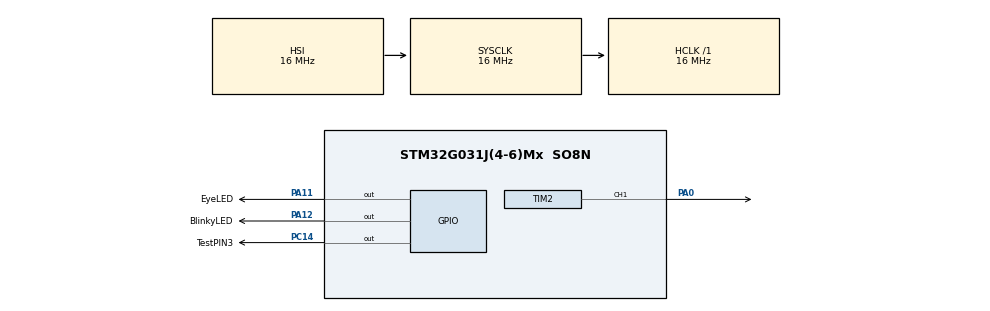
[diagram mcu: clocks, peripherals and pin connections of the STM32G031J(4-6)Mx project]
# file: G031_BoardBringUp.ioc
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Mcu.Family=STM32G0
Mcu.Name=STM32G031J(4-6)Mx
Mcu.Package=SO8N
PA0.Signal=S_TIM2_CH1_ETR
PA11\ [PA9].GPIO_Label=EyeLED
PA11\ [PA9].Signal=GPIO_Output
PA12\ [PA10].GPIO_Label=BlinkyLED
PA12\ [PA10].Signal=GPIO_Output
PA14-BOOT0__PA15__PB5__PB6.StandardMode=true
PB0__PB1__PA8__PA11\ [PA9].StandardMode=true
PC14-OSC32_IN\ (PC14).GPIO_Label=TestPIN3
PC14-OSC32_IN\ (PC14).Signal=GPIO_Output
PC14-OSC32_IN\ (PC14)__PB7__PB8__PB9.StandardMode=true
PF2\ -\ NRST__PA0__PA1__PA2.StandardMode=true
ProjectManager.HeapSize=0x200
ProjectManager.StackSize=0x400
ProjectManager.TargetToolchain=STM32CubeIDE
RCC.AHBFreq_Value=16000000
RCC.CortexFreq_Value=16000000
RCC.EXTERNAL_CLOCK_VALUE=12288000
RCC.HCLKFreq_Value=16000000
RCC.HSE_VALUE=8000000
RCC.HSI_VALUE=16000000
RCC.LSE_VALUE=32768
RCC.SYSCLKFreq_VALUE=16000000
RCC.VCOOutputFreq_Value=128000000
SH.S_TIM2_CH1_ETR.0=TIM2_CH1,PWM Generation1 CH1
TIM2.Channel-PWM\ Generation1\ CH1=TIM_CHANNEL_1
TIM2.Period=1000
TIM2.Prescaler=3200-1
TIM2.Pulse-PWM\ Generation1\ CH1=500
board=custom

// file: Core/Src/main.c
/* USER CODE BEGIN Header */
/**
 ******************************************************************************
 * @file           : main.c
 * @brief          : Main program body
 ******************************************************************************
 * @attention
 *
 * Copyright (c) 2022 STMicroelectronics.
 * All rights reserved.
 *
 * This software is licensed under terms that can be found in the LICENSE file
 * in the root directory of this software component.
 * If no LICENSE file comes with this software, it is provided AS-IS.
 *
 ******************************************************************************
 */
/* USER CODE END Header */
#include "main.h"

 TIM_HandleTypeDef htim2;

void SystemClock_Config(void);
static void MX_GPIO_Init(void);
static void MX_TIM2_Init(void);

int main(void)
{

  /* MCU Configuration--------------------------------------------------------*/

  /* Reset of all peripherals, Initializes the Flash interface and the Systick. */
  HAL_Init();

  /* Configure the system clock */
  SystemClock_Config();

  /* Initialize all configured peripherals */
  MX_GPIO_Init();
  MX_TIM2_Init();
  /* USER CODE BEGIN 2 */

  /*
   * This section needs to be executed once to set the right bit for the NRST Pin
   * https://github.com/olikraus/stm32g031/blob/main/disable_nrst/disable_nrst.c
   */
	/* check for the NRST GPIO mode */
	if ( (FLASH->OPTR & FLASH_OPTR_NRST_MODE_1) != 0 && (FLASH->OPTR & FLASH_OPTR_NRST_MODE_0) == 0 )
	{

	}

	/* Clear the LOCK bit in FLASH->CR (precondition for option byte flash) */
	FLASH->KEYR = 0x45670123;
	FLASH->KEYR = 0xCDEF89AB;
	/* Clear the OPTLOCK bit in FLASH->CR */
	FLASH->OPTKEYR = 0x08192A3B;
	FLASH->OPTKEYR = 0x4C5D6E7F;

	/* enable GPIO mode */
	FLASH->OPTR |= FLASH_OPTR_NRST_MODE_1;
	FLASH->OPTR &= ~FLASH_OPTR_NRST_MODE_0;

	/* check if there is any flash operation */
	while( (FLASH->SR & FLASH_SR_BSY1) != 0 )
		;

	/* start the option byte flash */
	FLASH->CR |= FLASH_CR_OPTSTRT;
	/* wait until flashing is done */
	while( (FLASH->SR & FLASH_SR_BSY1) != 0 )
		;

	/* do a busy delay, for about one second, check BSY1 flag to avoid compiler loop optimization */
	for( unsigned long i = 0; i < 2000000; i++ )
		if ( (FLASH->SR & FLASH_SR_BSY1) != 0 )
			break;

	/* load the new value and do a system reset */
	/* this will behave like a goto to the begin of this main procedure */
	FLASH->CR |= FLASH_CR_OBL_LAUNCH;

	// Enable the PowerLED and measure its consumption
	HAL_GPIO_WritePin(EyeLED_GPIO_Port, EyeLED_Pin, GPIO_PIN_SET);
	HAL_GPIO_WritePin(BlinkyLED_GPIO_Port, BlinkyLED_Pin, GPIO_PIN_RESET);
	//HAL_GPIO_WritePin(FanCTRL_GPIO_Port, FanCTRL_Pin, GPIO_PIN_RESET);
	HAL_TIM_PWM_Start(&htim2, TIM_CHANNEL_1);

	// HAL_GPIO_WritePin(FanCTRL_GPIO_Port, FanCTRL_Pin, GPIO_PIN_SET);

  /* USER CODE END 2 */

  /* Infinite loop */
	while (1)
	{

    /* USER CODE BEGIN 3 */

		HAL_GPIO_TogglePin(BlinkyLED_GPIO_Port, BlinkyLED_Pin);
		//HAL_GPIO_TogglePin(FanCTRL_GPIO_Port, FanCTRL_Pin);
		HAL_Delay(10000);

	}
  /* USER CODE END 3 */
}

void SystemClock_Config(void)
{
  RCC_OscInitTypeDef RCC_OscInitStruct = {0};
  RCC_ClkInitTypeDef RCC_ClkInitStruct = {0};

  /** Configure the main internal regulator output voltage
  */
  HAL_PWREx_ControlVoltageScaling(PWR_REGULATOR_VOLTAGE_SCALE1);

  /** Initializes the RCC Oscillators according to the specified parameters
  * in the RCC_OscInitTypeDef structure.
  */
  RCC_OscInitStruct.OscillatorType = RCC_OSCILLATORTYPE_HSI;
  RCC_OscInitStruct.HSIState = RCC_HSI_ON;
  RCC_OscInitStruct.HSIDiv = RCC_HSI_DIV1;
  RCC_OscInitStruct.HSICalibrationValue = RCC_HSICALIBRATION_DEFAULT;
  RCC_OscInitStruct.PLL.PLLState = RCC_PLL_NONE;
  if (HAL_RCC_OscConfig(&RCC_OscInitStruct) != HAL_OK)
  {
    Error_Handler();
  }

  /** Initializes the CPU, AHB and APB buses clocks
  */
  RCC_ClkInitStruct.ClockType = RCC_CLOCKTYPE_HCLK|RCC_CLOCKTYPE_SYSCLK
                              |RCC_CLOCKTYPE_PCLK1;
  RCC_ClkInitStruct.SYSCLKSource = RCC_SYSCLKSOURCE_HSI;
  RCC_ClkInitStruct.AHBCLKDivider = RCC_SYSCLK_DIV1;
  RCC_ClkInitStruct.APB1CLKDivider = RCC_HCLK_DIV1;

  if (HAL_RCC_ClockConfig(&RCC_ClkInitStruct, FLASH_LATENCY_0) != HAL_OK)
  {
    Error_Handler();
  }
}

static void MX_TIM2_Init(void)
{

  TIM_MasterConfigTypeDef sMasterConfig = {0};
  TIM_OC_InitTypeDef sConfigOC = {0};

  htim2.Instance = TIM2;
  htim2.Init.Prescaler = 3200-1;
  htim2.Init.CounterMode = TIM_COUNTERMODE_UP;
  htim2.Init.Period = 2000;
  htim2.Init.ClockDivision = TIM_CLOCKDIVISION_DIV1;
  htim2.Init.AutoReloadPreload = TIM_AUTORELOAD_PRELOAD_DISABLE;
  if (HAL_TIM_PWM_Init(&htim2) != HAL_OK)
  {
    Error_Handler();
  }
  sMasterConfig.MasterOutputTrigger = TIM_TRGO_RESET;
  sMasterConfig.MasterSlaveMode = TIM_MASTERSLAVEMODE_DISABLE;
  if (HAL_TIMEx_MasterConfigSynchronization(&htim2, &sMasterConfig) != HAL_OK)
  {
    Error_Handler();
  }
  sConfigOC.OCMode = TIM_OCMODE_PWM1;
  sConfigOC.Pulse = 1000;
  sConfigOC.OCPolarity = TIM_OCPOLARITY_HIGH;
  sConfigOC.OCFastMode = TIM_OCFAST_DISABLE;
  if (HAL_TIM_PWM_ConfigChannel(&htim2, &sConfigOC, TIM_CHANNEL_1) != HAL_OK)
  {
    Error_Handler();
  }
  HAL_TIM_MspPostInit(&htim2);

}

static void MX_GPIO_Init(void)
{
  GPIO_InitTypeDef GPIO_InitStruct = {0};

  /* GPIO Ports Clock Enable */
  __HAL_RCC_GPIOC_CLK_ENABLE();
  __HAL_RCC_GPIOA_CLK_ENABLE();

  /*Configure GPIO pin Output Level */
  HAL_GPIO_WritePin(TestPIN3_GPIO_Port, TestPIN3_Pin, GPIO_PIN_RESET);

  /*Configure GPIO pin Output Level */
  HAL_GPIO_WritePin(GPIOA, EyeLED_Pin|BlinkyLED_Pin, GPIO_PIN_RESET);

  /*Configure GPIO pin : TestPIN3_Pin */
  GPIO_InitStruct.Pin = TestPIN3_Pin;
  GPIO_InitStruct.Mode = GPIO_MODE_OUTPUT_PP;
  GPIO_InitStruct.Pull = GPIO_NOPULL;
  GPIO_InitStruct.Speed = GPIO_SPEED_FREQ_LOW;
  HAL_GPIO_Init(TestPIN3_GPIO_Port, &GPIO_InitStruct);

  /*Configure GPIO pins : EyeLED_Pin BlinkyLED_Pin */
  GPIO_InitStruct.Pin = EyeLED_Pin|BlinkyLED_Pin;
  GPIO_InitStruct.Mode = GPIO_MODE_OUTPUT_PP;
  GPIO_InitStruct.Pull = GPIO_NOPULL;
  GPIO_InitStruct.Speed = GPIO_SPEED_FREQ_LOW;
  HAL_GPIO_Init(GPIOA, &GPIO_InitStruct);

}

void Error_Handler(void)
{
	__disable_irq();
	while (1)
	{
	}
}
